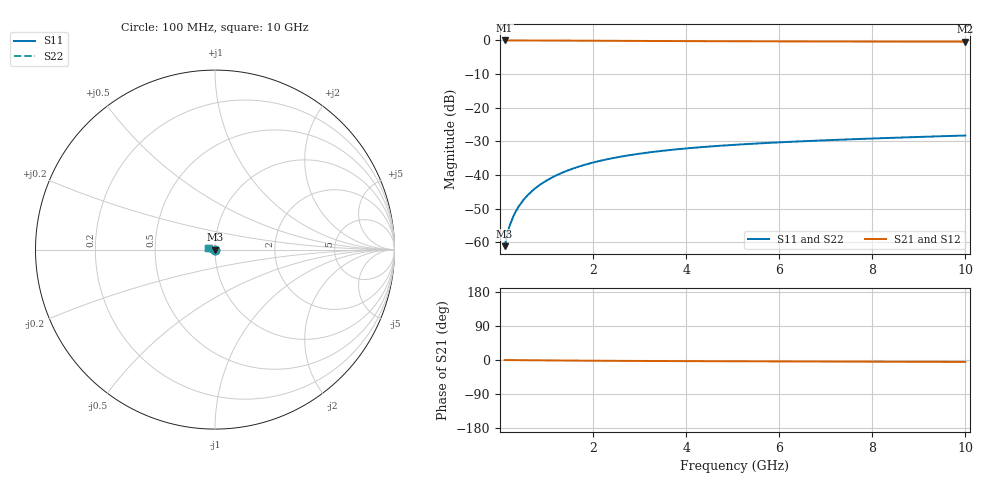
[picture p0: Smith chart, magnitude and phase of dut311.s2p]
! Touchstone file exported from HFSS 2024.1.0
!  File:  C:/UserFiles/LocalFiles/RDL_TSV_Batchsim/temp_TSV1_311_1779616038.aedt
!  Generated:  05:53:14 PM May 24, 2026
!  Design:  TSV1
!  Project:  temp_TSV1_311_1779616038
!  Setup:  Setup1
!  Solution:  Sweep
! Variables:
!  dtsv = 7.4um
!  hbump = 3um
!  htsv = 78.1um
!  lrdl = 252.1521522um
!  p = 40
!  p1 = 46.83um
!  t = 500um
!  trdl = 3um
!  wrdl = 24.89489489um
# GHz S MA R 50.000000
! Terminal data exported
! Port[1] = TSV22_T1
! Port[2] = TSV22_T2
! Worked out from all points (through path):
!   100 points, 100 MHz to 10 GHz, reference 50 ohm
!   highest |S21| = 0.00 dB at 100 MHz (marker M1); lowest = -0.4 dB at 10 GHz (marker M2)
!   lowest |S11| = -61.1 dB at 100 MHz (marker M3), VSWR 1.00, Z = 50 - j0.0851 ohm
!   |S11| at or under -10 dB: start of sweep to end of sweep
!   |S22| runs from -61.1 to -28.2 dB; largest |S21 - S12| = 7.1e-15
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0.1  0.0008819 -74.7  0.9997 -0.1  0.9997 -0.1  0.0008819 -74.7
! Gamma 0 0 0 0
! Port Impedance 50 0 50 0
0.2  0.001721 -84.9  0.9996 -0.2  0.9996 -0.2  0.001721 -84.9
0.3  0.002567 -89.7  0.9995 -0.3  0.9995 -0.3  0.002567 -89.7
0.4  0.00341 -93.0  0.9993 -0.4  0.9993 -0.4  0.00341 -93.0
0.5  0.004248 -95.8  0.999 -0.5  0.999 -0.5  0.004248 -95.8
0.6  0.005079 -98.2  0.9987 -0.6  0.9987 -0.6  0.005079 -98.2
0.7  0.005902 -100.5  0.9983 -0.7  0.9983 -0.7  0.005902 -100.5
0.8  0.006714 -102.6  0.9979 -0.8  0.9979 -0.8  0.006714 -102.6
0.9  0.007516 -104.6  0.9975 -0.9  0.9975 -0.9  0.007516 -104.6
1.1  0.009082 -108.6  0.9965 -1.1  0.9965 -1.1  0.009082 -108.6
1.4  0.01132 -114.1  0.9947 -1.4  0.9947 -1.4  0.01132 -114.1
1.6  0.01274 -117.6  0.9935 -1.6  0.9935 -1.6  0.01274 -117.6
1.8  0.01409 -121.0  0.9921 -1.7  0.9921 -1.7  0.01409 -121.0
2.1  0.01599 -125.8  0.9899 -1.9  0.9899 -1.9  0.01599 -125.8
2.5  0.01829 -131.9  0.9871 -2.2  0.9871 -2.2  0.01829 -131.9
2.9  0.02035 -137.5  0.9842 -2.5  0.9842 -2.5  0.02035 -137.5
3.4  0.0226 -144.0  0.9809 -2.7  0.9809 -2.7  0.0226 -144.0
4.2  0.02562 -153.2  0.9761 -3.1  0.9761 -3.1  0.02562 -153.2
5.1  0.02837 -162.1  0.9718 -3.4  0.9718 -3.4  0.02837 -162.1
6.7  0.03229 -175.3  0.9661 -4.0  0.9661 -4.0  0.03229 -175.3
8.4  0.03577 173.5  0.962 -4.5  0.962 -4.5  0.03576 173.5
10  0.03879 164.8  0.9593 -5.1  0.9593 -5.1  0.03879 164.8
